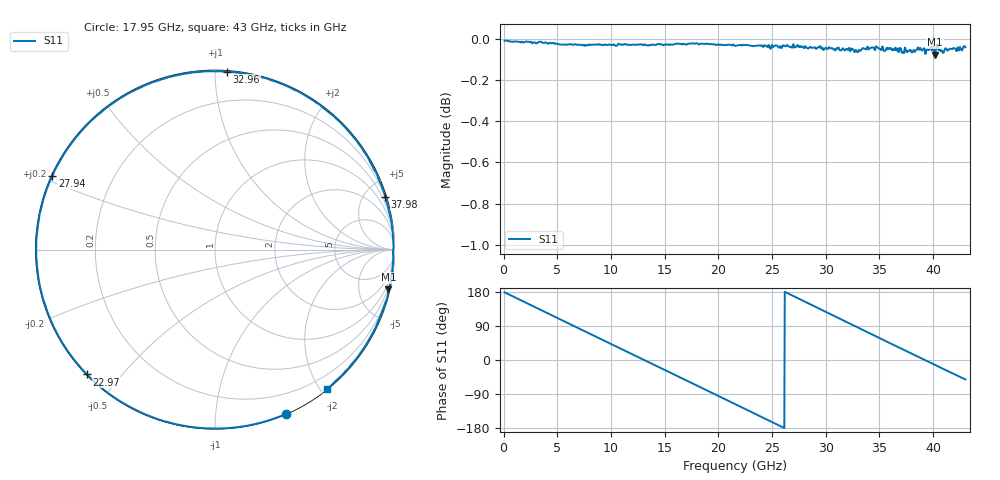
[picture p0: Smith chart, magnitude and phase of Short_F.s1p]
# Hz S RI R 50.000000
! Metas.Vna.Tools, 2.9.9438.25149
! Metas.Vna.Data, 2.9.9438.25100
! Created: UTC 2026.07.08 13:01:41
! FREQ  re:S1,1  im:S1,1
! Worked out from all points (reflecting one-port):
!   1001 points, 100 MHz to 43 GHz, reference 50 ohm
!   lowest |S11| = -0.1 dB at 40.17 GHz (marker M1), VSWR 226.14, Z = 17.4 - j440 ohm
!   phase of S11 starts at 179 deg and turns -590 deg over the sweep
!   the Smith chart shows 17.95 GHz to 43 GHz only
!   S11 on the Smith chart (normalised r, x): 17.95 GHz: 0.00, -1.52; 22.97 GHz: 0.00, -0.41; 27.94 GHz: 0.00, +0.22; 32.96 GHz: 0.01, +1.07; 37.98 GHz: 0.17, +6.61; 43 GHz: 0.01, -2.08
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1e8  -0.9987 0.0243
2.5024e9  -0.8218 0.5665
4.0468e9  -0.5599 0.8257
5.4625e9  -0.2524 0.9644
6.7495e9  0.0526 0.9956
8.0365e9  0.3527 0.9323
9.3664e9  0.6265 0.7755
1.0825e10  0.8545 0.5136
1.21978e10  0.9743 0.2108
1.34848e10  0.9918 -0.0951
1.48147e10  0.9132 -0.3996
1.61875e10  0.7356 -0.6736
1.79464e10  0.3954 -0.9159
1.97482e10  -0.0251 -0.9964
2.155e10  -0.44 -0.8937
2.29657e10  -0.713 -0.6958
2.50249e10  -0.9589 -0.2701
2.69125e10  -0.9799 0.1763
2.79421e10  -0.9055 0.4125
3.02158e10  -0.5553 0.8253
3.2275e10  -0.0964 0.9885
3.29614e10  0.067 0.9903
3.51064e10  0.5489 0.8291
3.76375e10  0.9226 0.3677
3.79807e10  0.9483 0.2934
4.01686e10  0.966 -0.2221
4.14127e10  0.8622 -0.4941
4.3e10  0.6217 -0.7773
